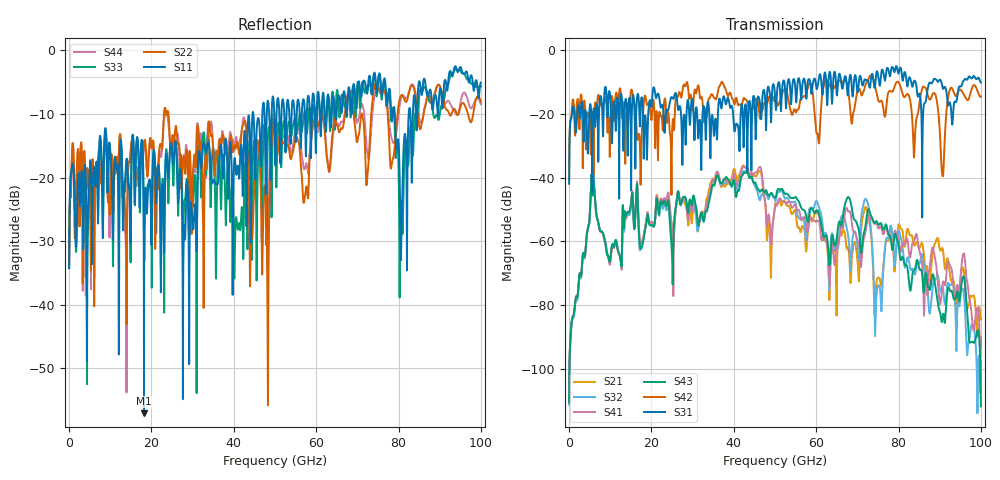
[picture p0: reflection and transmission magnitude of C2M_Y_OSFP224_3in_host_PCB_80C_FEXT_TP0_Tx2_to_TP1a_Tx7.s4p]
# GHz S RI R 45
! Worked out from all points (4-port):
!   4000 points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, 25 MHz to 100 GHz, reference 45 ohm
!   strongest paths, dB at 25 MHz, 25.02 GHz, 50.02 GHz, 75.03 GHz, 100 GHz:
!     S31: -42.0, -14.8, -14.6, -7.6, -10.2
!     S42: -40.5, -26.4, -15.9, -15.6, -14.6
!     S43: -110.6, -64.8, -46.3, -54.7, -111.8
!     S41: -110.2, -56.1, -49.1, -55.8, -90.1
!     S32: -111.4, -60.0, -47.1, -73.9, -100.7
!     S21: -110.8, -55.3, -48.8, -71.4, -84.6
!   lowest |S11| = -57.0 dB at 18.2 GHz (marker M1), VSWR 1.00, Z = 44.9 - j0.0729 ohm
!   |S11| at or under -10 dB: start of sweep to 44.55 GHz; 44.76 GHz to 46.94 GHz (2.179 GHz wide, 4.75 % of centre); 79.09 GHz to 82.48 GHz (3.386 GHz wide, 4.19 % of centre) (the widest 3 of 24)
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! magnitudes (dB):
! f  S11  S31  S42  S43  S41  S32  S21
! 25 MHz  -34.2  -42.0  -40.5  -110.6  -110.2  -111.4  -110.8
! 5.725 GHz  -25.9  -25.0  -19.7  -42.0  -42.0  -42.2  -42.2
! 18.2 GHz  -57.0  -29.7  -15.8  -58.5  -57.9  -58.1  -57.6
! 46.25 GHz  -12.0  -15.6  -20.7  -44.4  -36.7  -47.0  -38.0
! 86.28 GHz  -4.5  -16.7  -11.6  -74.4  -80.4  -69.2  -65.8
! 90.67 GHz  -9.2  -11.6  -39.4  -84.0  -73.7  -74.1  -62.2
! 100 GHz  -5.1  -10.2  -14.6  -111.8  -90.1  -100.7  -84.6
